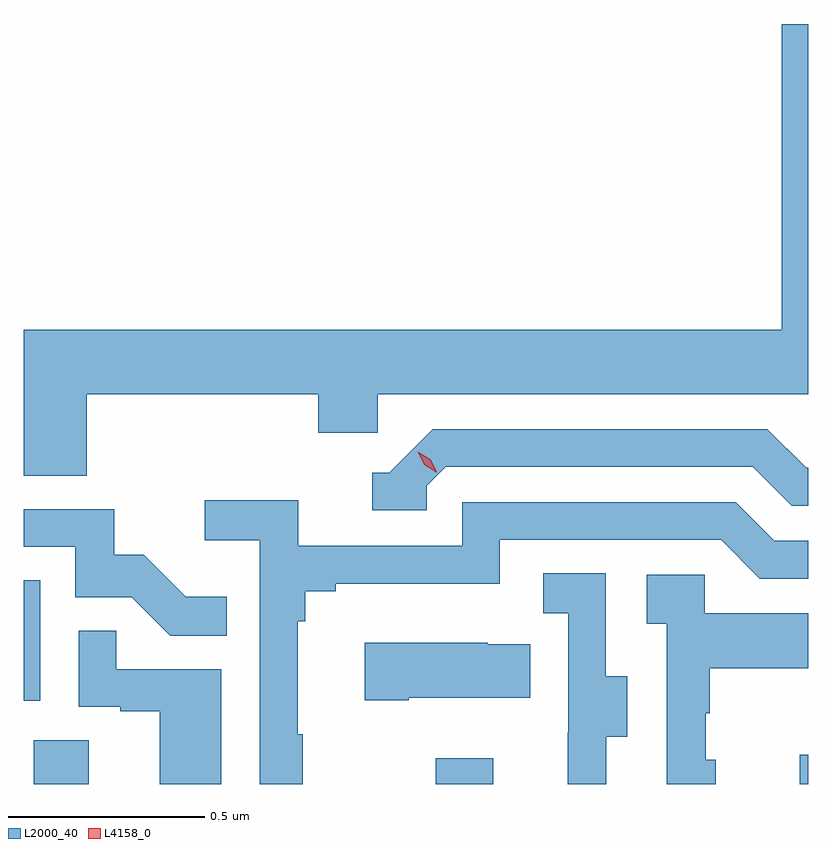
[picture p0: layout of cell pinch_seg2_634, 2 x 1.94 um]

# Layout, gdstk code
import gdstk
lib = gdstk.Library(unit=1e-6, precision=1e-09)
def R(c, l, rs):  # rectangles x0, y0, x1, y1
    for r in rs: c.add(gdstk.rectangle(r[:2], r[2:], *l))
def P(c, l, *ps):  # polygons
    for p in ps: c.add(gdstk.Polygon(p, *l))
L2000_40 = (2000, 40)
L4158_0 = (4158, 0)

pinch_seg2_634 = lib.new_cell('pinch_seg2_634')
R(pinch_seg2_634, L2000_40, [(1041.257,617.338,1041.397,617.45), (1042.282,617.338,1042.429,617.404), (1043.21,617.338,1043.232,617.413), (1041.232,617.55,1041.274,617.857)])
P(pinch_seg2_634, L2000_40, [(1041.392,618.332),(1041.983,618.332),(1041.983,618.234),(1042.134,618.234),(1042.134,618.332),(1043.232,618.332),(1043.232,619.276),(1043.165,619.276),(1043.165,618.496),(1041.232,618.496),(1041.232,618.124),(1041.392,618.124)],
  [(1042.26,618.099),(1042.308,618.147),(1043.091,618.147),(1043.19,618.048),(1043.232,618.048),(1043.232,618.144),(1043.227,618.144),(1043.128,618.243),(1042.275,618.243),(1042.164,618.132),(1042.121,618.132),(1042.121,618.036),(1042.26,618.036)],
  [(1041.943,617.465),(1041.931,617.465),(1041.931,617.753),(1041.95,617.753),(1041.95,617.83),(1042.027,617.83),(1042.027,617.849),(1042.446,617.849),(1042.446,617.961),(1043.01,617.961),(1043.109,617.862),(1043.232,617.862),(1043.232,617.958),(1043.146,617.958),(1043.047,618.057),(1042.35,618.057),(1042.35,617.946),(1041.932,617.946),(1041.932,618.062),(1041.693,618.062),(1041.693,617.96),(1041.834,617.96),(1041.834,617.338),(1041.943,617.338)],
  [(1041.749,617.815),(1041.645,617.815),(1041.538,617.922),(1041.462,617.922),(1041.462,618.039),(1041.232,618.039),(1041.232,617.943),(1041.363,617.943),(1041.363,617.814),(1041.507,617.814),(1041.605,617.716),(1041.749,617.716)],
  [(1042.717,617.458),(1042.771,617.458),(1042.771,617.613),(1042.716,617.613),(1042.716,617.876),(1042.557,617.876),(1042.557,617.773),(1042.62,617.773),(1042.62,617.469),(1042.619,617.469),(1042.619,617.338),(1042.717,617.338)],
  [(1042.996,617.4),(1042.971,617.4),(1042.971,617.519),(1042.981,617.519),(1042.981,617.633),(1043.232,617.633),(1043.232,617.773),(1042.968,617.773),(1042.968,617.871),(1042.821,617.871),(1042.821,617.747),(1042.872,617.747),(1042.872,617.338),(1042.996,617.338)],
  [(1041.736,617.631),(1041.467,617.631),(1041.467,617.729),(1041.372,617.729),(1041.372,617.535),(1041.478,617.535),(1041.478,617.523),(1041.578,617.523),(1041.578,617.338),(1041.736,617.338)],
  [(1042.213,617.558),(1042.523,617.558),(1042.523,617.695),(1042.415,617.695),(1042.415,617.698),(1042.101,617.698),(1042.101,617.551),(1042.213,617.551)])
P(pinch_seg2_634, L4158_0, [(1042.284,618.133),(1042.253,618.152),(1042.236,618.185),(1042.236,618.185),(1042.237,618.185),(1042.268,618.166),(1042.285,618.134),(1042.285,618.133)])

lib.write_gds('pinch_seg2_634.gds')
